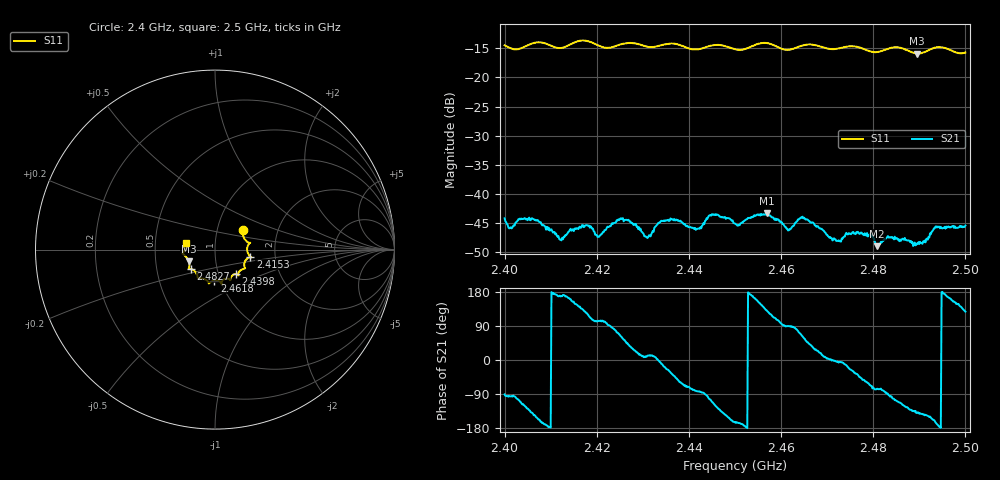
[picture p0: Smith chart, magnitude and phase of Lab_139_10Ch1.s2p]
# Hz S RI R 50
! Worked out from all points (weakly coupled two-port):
!   601 points, 2.4 GHz to 2.5 GHz, reference 50 ohm
!   highest |S21| = -43.35 dB at 2.457 GHz (marker M1); lowest = -49.0 dB at 2.4808 GHz (marker M2)
!   lowest |S11| = -15.9 dB at 2.4895 GHz (marker M3), VSWR 1.38, Z = 37 - j5 ohm
!   |S11| at or under -10 dB: start of sweep to end of sweep
!   S12 and S22 are empty: the file has one direction only
!   S11 on the Smith chart (normalised r, x): 2.4 GHz: 1.33, +0.30; 2.4153 GHz: 1.48, -0.12; 2.4398 GHz: 1.21, -0.34; 2.4618 GHz: 0.94, -0.33; 2.4827 GHz: 0.75, -0.17; 2.5 GHz: 0.72, +0.06
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2.4e9  0.1552 0.1072  -9.65e-05 -0.00618  0 0  0 0
2.406667e9  0.1952 0.0376  -0.00507 -0.00323  0 0  0 0
2.412333e9  0.179 -0.00469  -0.00393 0.00076  0 0  0 0
2.415333e9  0.1969 -0.0394  -0.0043 0.0027  0 0  0 0
2.416667e9  0.2027 -0.0435  -0.0037 0.00362  0 0  0 0
2.4205e9  0.1802 -0.0495  -0.000962 0.00419  0 0  0 0
2.425667e9  0.1661 -0.1008  0.00343 0.00516  0 0  0 0
2.430833e9  0.144 -0.1145  0.00419 0.00066  0 0  0 0
2.433333e9  0.1294 -0.1337  0.00564 -8.6e-05  0 0  0 0
2.439833e9  0.1154 -0.1356  0.0017 -0.00493  0 0  0 0
2.4455e9  0.0842 -0.1699  -0.00303 -0.00593  0 0  0 0
2.45e9  0.0654 -0.162  -0.00535 -0.00158  0 0  0 0
2.457e9  0.0394 -0.193  -0.00429 0.00528  0 0  0 0
2.461833e9  -0.00321 -0.173  9.34e-05 0.00499  0 0  0 0
2.466667e9  -0.0348 -0.1882  0.00457 0.00339  0 0  0 0
2.471667e9  -0.0664 -0.162  0.00407 -0.000143  0 0  0 0
2.477e9  -0.0967 -0.1529  0.00321 -0.00321  0 0  0 0
2.480833e9  -0.1173 -0.1161  0.000874 -0.00346  0 0  0 0
2.482667e9  -0.135 -0.1087  0.000259 -0.00411  0 0  0 0
2.483333e9  -0.1402 -0.1083  -0.000196 -0.00423  0 0  0 0
2.4895e9  -0.146 -0.0659  -0.00289 -0.00242  0 0  0 0
2.5e9  -0.1589 0.0388  -0.00327 0.00424  0 0  0 0
